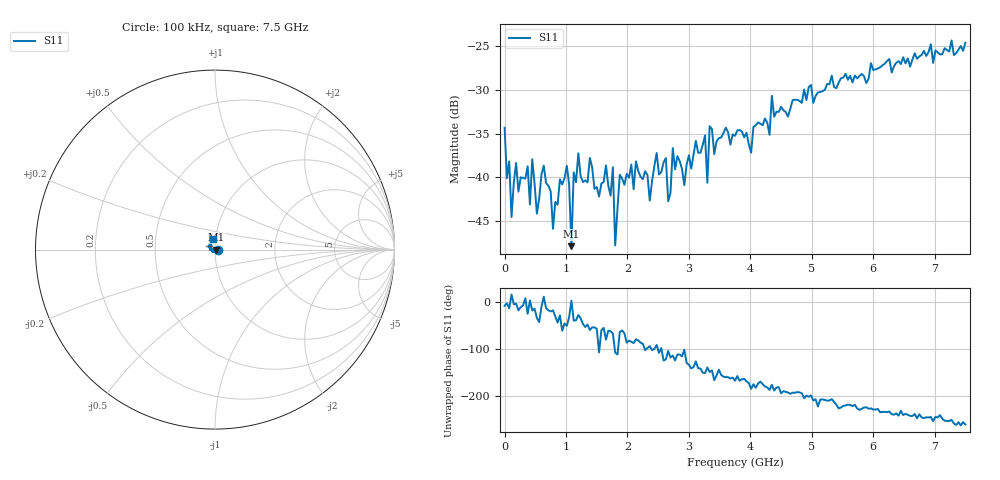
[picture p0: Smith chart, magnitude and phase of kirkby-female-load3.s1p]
# Hz S DB R 50.000000
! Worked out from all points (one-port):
!   201 points, 100 kHz to 7.5 GHz, reference 50 ohm
!   lowest |S11| = -47.9 dB at 1.088 GHz (marker M1), VSWR 1.01, Z = 50.4 + j0.0233 ohm
!   |S11| at or under -10 dB: start of sweep to end of sweep
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100000  -34.33 -7.5
1.12597e8  -44.55 16.3
1.87595e8  -38.36 -3.2
4.12589e8  -43.11 3.7
4.50088e8  -37.94 -17.6
5.25086e8  -44.16 -33.4
6.37583e8  -38.67 11.6
7.87579e8  -45.90 -17.2
9.37575e8  -40.82 -60.7
1.012573e9  -38.69 -50.3
1.087571e9  -47.88 3.3
1.12507e9  -39.44 -39.2
1.200068e9  -37.26 -27.3
1.762553e9  -38.85 -66.5
1.800052e9  -47.80 -107.3
1.87505e9  -39.71 -63.2
2.362537e9  -42.66 -93.3
2.62503e9  -37.80 -121.3
2.662529e9  -42.75 -103.6
2.812525e9  -37.57 -111.2
3.262513e9  -35.21 -150.5
3.300012e9  -40.63 -138.7
3.337511e9  -34.16 -148.3
3.75e9  -35.26 -166.7
4.687475e9  -31.18 167.7
5.62495e9  -28.39 141.9
6.562425e9  -26.40 120.8
7.4999e9  -24.60 100.1
